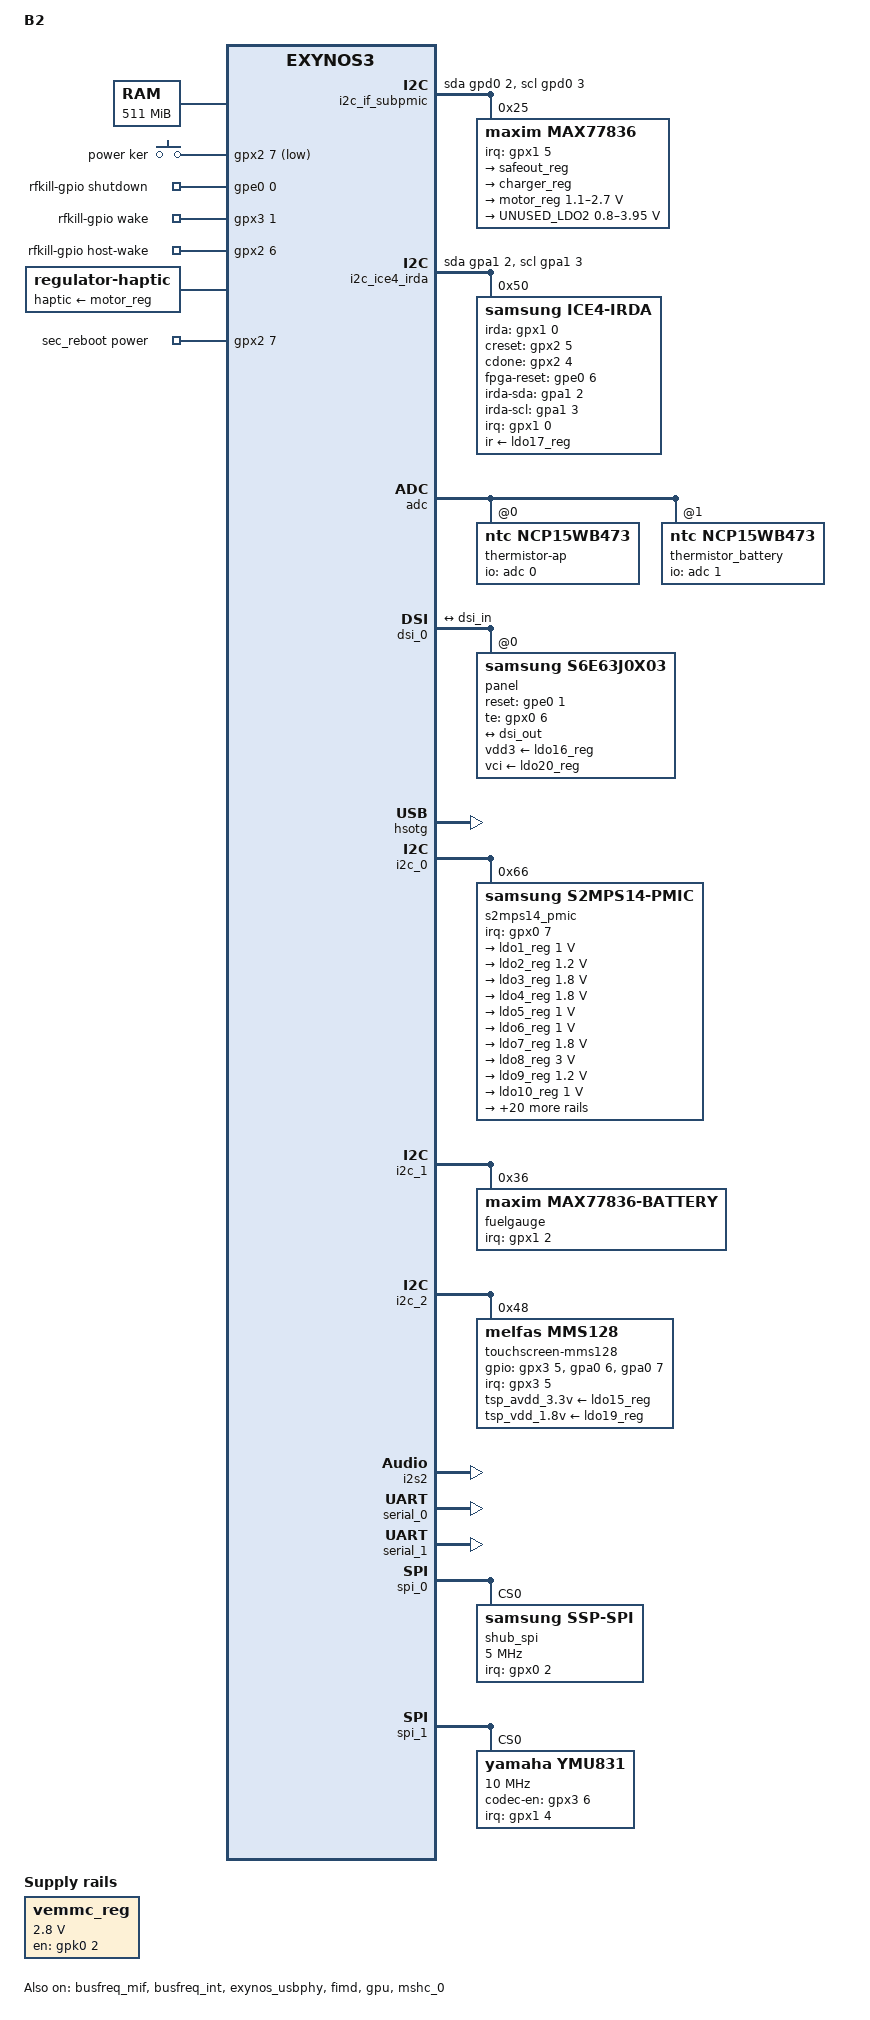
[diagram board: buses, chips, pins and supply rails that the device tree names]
/*
 * Samsung's Exynos3250 based Rinato board device tree source
 *
 * Copyright (c) 2014 Samsung Electronics Co., Ltd.
 *		http://www.samsung.com
 *
 * Device tree source file for Samsung's Rinato board which is based on
 * Samsung Exynos3250 SoC.
 *
 * This program is free software; you can redistribute it and/or modify
 * it under the terms of the GNU General Public License version 2 as
 * published by the Free Software Foundation.
 */

/dts-v1/;
#include "exynos3250.dtsi"

/ {
	model = "B2";
	revision = <6>;
	compatible = "samsung,rinato-rev05", "samsung,exynos3250",
			"samsung,exynos3";

	aliases {
		i2c7 = &i2c_if_subpmic;
		i2c8 = &i2c_ice4_irda;
	};

	memory {
		reg =  <0x40000000 0x08000000
			0x48000000 0x08000000
			0x50000000 0x08000000
			0x58000000 0x07F00000>;
	};

	reserved-memory {
		#address-cells = <1>;
		#size-cells = <1>;
		ranges;

		contig_mem: region@51000000 {
			compatible = "linux,contiguous-memory-region";
			reg = <0x51000000 0x1000000>;
			linux,default-contiguous-region;
		};
	};

	chosen {
		bootargs = "console=ttySAC1,115200N8 root=/dev/mmcblk0p15 rootwait earlyprintk panic=5";
	};

	firmware@0205F000 {
		compatible = "samsung,secure-firmware";
		reg = <0x0205F000 0x1000>;
	};

	charger-manager@0 {
		compatible = "charger-manager";
		status = "okay";

		cm-name = "battery";
		/* Enable polling always to monitor battery capcity */
		cm-poll-mode = <1>;
		cm-poll-interval = <30000>;

		cm-fullbatt-vchkdrop-ms = <30000>;
		cm-fullbatt-vchkdrop-volt = <150000>;
		cm-fullbatt-soc = <100>;

		/* Checking battery present with fuelgauge */
		cm-battery-stat = <0>;

		cm-fuel-gauge = "max17040";

		cm-thermal-zone = "battery";
		cm-battery-hot = <600>;

		cm-charging-max = <21600000>;	/* 60 hours */
		cm-discharging-max = <300000>;	/* 5 minutes */

		cm-num-chargers = <1>;
		cm-chargers = "max14577-charger";

		charger@0 {
			cm-regulator-name = "CHARGER";
			cable@0 {
				cm-cable-name = "USB";
				cm-cable-extcon = "max77836-muic";
				cm-cable-min = <450000>;
				cm-cable-max = <450000>;
			};
			cable@1 {
				cm-cable-name = "TA";
				cm-cable-extcon = "max77836-muic";
				cm-cable-min = <2000000>;
				cm-cable-max = <2000000>;
			};
		};
	};

	gpio-keys {
		compatible = "gpio-keys";

		power_gpio_keys {
			interrupt-parent = <&gpx2>;
			interrupts = <7 0>;
			gpios = <&gpx2 7 1>;
			linux,code = <116>;
			label = "power ker";
			debounce-interval = <10>;
			gpio-key,wakeup;
		};
	};

	i2c_if_subpmic: i2c-gpio-0 {
		compatible = "i2c-gpio";
		gpios = <&gpd0 2 0
			 &gpd0 3 0>;
		#address-cells = <1>;
		#size-cells = <0>;

		max77836@25 {
			compatible = "maxim,max77836";
			reg = <0x25>;
			interrupt-parent = <&gpx1>;
			interrupts = <5 0>;
			wakeup;

			muic: max77836-muic {
				compatible = "maxim,max77836-muic";
			};

			regulators {
				compatible = "maxim,max77836-regulator";
				safeout_reg: SAFEOUT {
					regulator-name = "SAFEOUT";
					regulator-always-on;
				};

				charger_reg: CHARGER {
					regulator-name = "CHARGER";
					regulator-min-microamp = <45000>;
					regulator-max-microamp = <475000>;
					regulator-boot-on;
				};

				motor_reg: LDO1 {
					regulator-name = "MOT_2.7V";
					regulator-min-microvolt = <1100000>;
					regulator-max-microvolt = <2700000>;
				};

				LDO2 {
					regulator-name = "UNUSED_LDO2";
					regulator-min-microvolt = <800000>;
					regulator-max-microvolt = <3950000>;
				};
			};

			charger: max77836-charger {
				compatible = "maxim,max77836-charger";

				maxim,fast-charge-timer = <6>;
				maxim,constant-uvolt = <4350000>;
				maxim,fast-charge-uamp = <225000>;
				maxim,eoc-uamp = <7500>;
				maxim,ovp-uvolt = <6500000>;
			};
		};
	};

	i2c_ice4_irda: i2c-gpio-1 {
		compatible = "i2c-gpio";
		gpios = <&gpa1 2 0
			 &gpa1 3 0>;
			i2c-gpio,sda-open-drain;
			i2c-gpio,scl-open-drain;
			i2c-gpio,delay-us = <2>;
		#address-cells = <1>;
		#size-cells = <0>;

		ice4-irda@50 {
			compatible = "samsung,ice4-irda";
			reg = <0x50>;
			interrupt-parent = <&gpx1>;
			interrupts = <0 0>;
			clocks = <&xusbxti>, <&clkout CLK_MOUT_CLKOUT>,
				<&clkout CLK_CLKOUT>;
			clock-names = "parent", "out-mux", "out";
			ir-supply = <&ldo17_reg>;
			irda-gpio = <&gpx1 0 0>;
			creset-gpio = <&gpx2 5 0>;
			cdone-gpio = <&gpx2 4 0>;
			fpga-reset-gpio = <&gpe0 6 0>;
			irda-sda-gpio = <&gpa1 2 0>;
			irda-scl-gpio = <&gpa1 3 0>;
		};
	};

	jack {
		compatible = "samsung,extcon-port";
		extcon = <&muic>;

		samsung,extcon-online-usb;
		samsung,extcon-online-charger;
	};

	rfkill-gpio {
		compatible = "rfkill-gpio";
		rfkill-name = "rfkill-gpio";
		rfkill-type = <2>;
		shutdown-gpio = <&gpe0 0 0>;
		wake-gpio = <&gpx3 1 0>;
		host-wake-gpio = <&gpx2 6 0>;
		clocks = <&s2mps14_osc 2>;
		clock-names ="bt_clk32k";
	};

	regulator-haptic {
		compatible = "linux,regulator-haptic";
		haptic-supply = <&motor_reg>;
		min-microvolt = <1100000>;
		max-microvolt = <2700000>;
	};

	sound {
		compatible = "rinato,ymu831";
		samsung,pmureg-phandle = <&pmu_system_controller>;
		clocks = <&xusbxti>, <&clkout CLK_MOUT_CLKOUT>,
			<&clkout CLK_CLKOUT>,
			<&s2mps14_osc 2 /* S2MPS11_CLK_BT */>;
		clock-names = "parent", "out-mux", "out", "clk_32k";
		samsung,i2s-controller = <&i2s2>;
		samsung,audio-codec = <&ymu831>;
		samsung,model = "ymu831";
	};

	sec_reboot {
		compatible = "samsung,sec-reboot";
		power-gpio = <&gpx2 7 0>;
		extcon = <&muic>;
	};

	vemmc_reg: voltage-regulator@0 {
	        compatible = "regulator-fixed";
		regulator-name = "V_EMMC_2.8V-fixed";
		regulator-min-microvolt = <2800000>;
		regulator-max-microvolt = <2800000>;
		gpio = <&gpk0 2 0>;
		enable-active-high;
	};

	thermal-zones {
		battery {
			polling-delay-passive = <0>;
			polling-delay = <0>;
			thermal-sensors = <&thermistor_battery>;
		};
	};
};

&adc {
	vdd-supply = <&ldo3_reg>;
	status = "okay";
	assigned-clocks = <&cmu CLK_SCLK_TSADC>;
	assigned-clock-rates = <6000000>;

	thermistor-ap@0 {
		compatible = "ntc,ncp15wb473";
		pullup-uv = <1800000>;
		pullup-ohm = <100000>;
		pulldown-ohm = <100000>;
		io-channels = <&adc 0>;
	};

	thermistor_battery: thermistor-battery@1 {
		compatible = "ntc,ncp15wb473";
		pullup-uv = <1800000>;
		pullup-ohm = <100000>;
		pulldown-ohm = <100000>;
		io-channels = <&adc 1>;
		#thermal-sensor-cells = <0>;
	};
};

&busfreq_mif {
	vdd_mif-supply = <&buck1_reg>;
	status = "okay";
};

&busfreq_int {
	vdd_int-supply = <&buck3_reg>;
	status = "okay";
};

&cpufreq {
	compatible = "samsung,exynos-cpufreq";
	clocks = <&cmu CLK_DIV_CORE2>, <&cmu CLK_MOUT_CORE>,
	         <&cmu CLK_MOUT_MPLL_USER_C>, <&cmu CLK_MOUT_APLL>;
	clock-names = "div_core2", "mout_core", "mout_mpll_user_c",
							"mout_apll";
	freq_table = <1000000 900000 800000 700000 600000
		      500000 400000 300000 200000 100000>;
	vdd_arm-supply = <&buck2_reg>;
	status = "okay";
};

&dsi_0 {
	vddcore-supply = <&ldo6_reg>;
	vddio-supply = <&ldo6_reg>;
	samsung,pll-clock-frequency = <24000000>;
	status = "okay";

	ports {
		#address-cells = <1>;
		#size-cells = <0>;

		port@1 {
			reg = <1>;

			dsi_out: endpoint {
				remote-endpoint = <&dsi_in>;
				samsung,burst-clock-frequency = <250000000>;
				samsung,esc-clock-frequency = <20000000>;
			};
		};
	};

	panel@0 {
		compatible = "samsung,s6e63j0x03";
		reg = <0>;
		vdd3-supply = <&ldo16_reg>;
		vci-supply = <&ldo20_reg>;
		reset-gpios = <&gpe0 1 0>;
		te-gpios = <&gpx0 6 0>;
		power-on-delay= <30>;
		power-off-delay= <120>;
		reset-delay = <5>;
		init-delay = <100>;
		flip-horizontal;
		flip-vertical;
		panel-width-mm = <29>;
		panel-height-mm = <29>;

		display-timings {
			timing-0 {
				clock-frequency = <0>;
				hactive = <320>;
				vactive = <320>;
				hfront-porch = <1>;
				hback-porch = <1>;
				hsync-len = <1>;
				vfront-porch = <150>;
				vback-porch = <1>;
				vsync-len = <2>;
			};
		};

		port {
			dsi_in: endpoint {
				remote-endpoint = <&dsi_out>;
			};
		};
	};
};

&exynos_usbphy {
	status = "okay";
};

&fimd {
	status = "okay";

	i80-if-timings {
		cs-setup = <0>;
		wr-setup = <0>;
		wr-act = <1>;
		wr-hold = <0>;
	};
};

&gpu {
	vdd_g3d-supply = <&buck3_reg>;
	status = "okay";
};

&hsotg {
	status = "okay";
	vusb_d-supply = <&ldo6_reg>;
	vusb_a-supply = <&ldo8_reg>;
};

&i2c_0 {
	#address-cells = <1>;
	#size-cells = <0>;
	samsung,i2c-sda-delay = <100>;
	samsung,i2c-slave-addr = <0x10>;
	samsung,i2c-max-bus-freq = <100000>;
	status = "okay";

	s2mps14_pmic@66 {
		compatible = "samsung,s2mps14-pmic";
		interrupt-parent = <&gpx0>;
		interrupts = <7 0>;
		reg = <0x66>;

		wakeup;

		s2mps14_osc: clocks {
			compatible = "samsung,s2mps14-clk";
			#clock-cells = <1>;
			clock-output-names = "s2mps14_ap", "unused",
				"s2mps14_bt";
		};

		regulators {
			ldo1_reg: LDO1 {
				regulator-name = "VAP_ALIVE_1.0V";
				regulator-min-microvolt = <1000000>;
				regulator-max-microvolt = <1000000>;
				regulator-always-on;

				op_mode = <1>; /* Normal Mode */
			};

			ldo2_reg: LDO2 {
				regulator-name = "VAP_M1_1.2V";
				regulator-min-microvolt = <1200000>;
				regulator-max-microvolt = <1200000>;
				regulator-always-on;

				op_mode = <3>; /* Standby Mode */
			};

			ldo3_reg: LDO3 {
				regulator-name = "VCC_AP_1.8V";
				regulator-min-microvolt = <1800000>;
				regulator-max-microvolt = <1800000>;
				regulator-always-on;

				/*
				 * FIXME: Change to Normal mode from Standby-
				 * mode, because when trying to play sound,
				 * board power is turned off suddenly.
				 * After resolved this issue, this workaround
				 * will be deleted.
				 */
				op_mode = <1>; /* Normal Mode */
			};

			ldo4_reg: LDO4 {
				regulator-name = "VAP_AVDD_PLL1";
				regulator-min-microvolt = <1800000>;
				regulator-max-microvolt = <1800000>;
				regulator-always-on;

				op_mode = <3>; /* Standby Mode */
			};

			ldo5_reg: LDO5 {
				regulator-name = "VAP_PLL_ISO_1.0V";
				regulator-min-microvolt = <1000000>;
				regulator-max-microvolt = <1000000>;
				regulator-always-on;

				op_mode = <3>; /* Standby Mode */
			};

			ldo6_reg: LDO6 {
				regulator-name = "VAP_VMIPI_1.0V";
				regulator-min-microvolt = <1000000>;
				regulator-max-microvolt = <1000000>;

				op_mode = <3>; /* Standby Mode */
			};

			ldo7_reg: LDO7 {
				regulator-name = "VAP_AVDD_1.8V";
				regulator-min-microvolt = <1800000>;
				regulator-max-microvolt = <1800000>;
				regulator-always-on;

				op_mode = <1>; /* Normal Mode */
			};

			ldo8_reg: LDO8 {
				regulator-name = "VAP_USB_3.0V";
				regulator-min-microvolt = <3000000>;
				regulator-max-microvolt = <3000000>;
				regulator-always-on;

				op_mode = <3>; /* Standby Mode */
			};

			ldo9_reg: LDO9 {
				regulator-name = "V_LPDDR_1.2V";
				regulator-min-microvolt = <1200000>;
				regulator-max-microvolt = <1200000>;
				regulator-always-on;

				op_mode = <1>; /* Normal Mode */
			};

			ldo10_reg: LDO10 {
				regulator-name = "UNUSED_LDO10";
				regulator-min-microvolt = <1000000>;
				regulator-max-microvolt = <1000000>;
				regulator-always-off;

				op_mode = <3>; /* Standby Mode */
			};

			ldo11_reg: LDO11 {
				regulator-name = "V_EMMC_1.8V";
				regulator-min-microvolt = <1800000>;
				regulator-max-microvolt = <1800000>;

				op_mode = <1>; /* Normal Mode */
			};

			ldo12_reg: LDO12 {
				regulator-name = "V_EMMC_2.8V";
				regulator-min-microvolt = <2800000>;
				regulator-max-microvolt = <2800000>;

				op_mode = <1>; /* Normal Mode */
			};

			ldo13_reg: LDO13 {
				regulator-name = "CAM_AVDD_2.8V";
				regulator-min-microvolt = <2800000>;
				regulator-max-microvolt = <2800000>;

				op_mode = <3>; /* Standby Mode */
			};

			ldo14_reg: LDO14 {
				regulator-name = "UNUSED_LDO14";
				regulator-min-microvolt = <2700000>;
				regulator-max-microvolt = <2700000>;
				regulator-always-off;

				op_mode = <3>; /* Standby Mode */
			};

			ldo15_reg: LDO15 {
				regulator-name = "TSP_AVDD_3.3V";
				regulator-min-microvolt = <3300000>;
				regulator-max-microvolt = <3300000>;

				op_mode = <3>; /* Standby Mode */
			};

			ldo16_reg: LDO16 {
				regulator-name = "LCD_VDD_3.3V";
				regulator-min-microvolt = <3300000>;
				regulator-max-microvolt = <3300000>;

				op_mode = <3>; /* Standby Mode */
			};

			ldo17_reg: LDO17 {
				regulator-name = "V_IRLED_3.3V";
				regulator-min-microvolt = <3300000>;
				regulator-max-microvolt = <3300000>;

				op_mode = <3>; /* Standby Mode */
			};

			ldo18_reg: LDO18 {
				regulator-name = "CAM_AF_2.8V";
				regulator-min-microvolt = <2800000>;
				regulator-max-microvolt = <2800000>;

				op_mode = <3>; /* Standby Mode */
			};

			ldo19_reg: LDO19 {
				regulator-name = "TSP_VDD_1.8V";
				regulator-min-microvolt = <1800000>;
				regulator-max-microvolt = <1800000>;

				op_mode = <3>; /* Standby Mode */
			};

			ldo20_reg: LDO20 {
				regulator-name = "LCD_VDD_1.8V";
				regulator-min-microvolt = <1800000>;
				regulator-max-microvolt = <1800000>;

				op_mode = <3>; /* Standby Mode */
			};

			ldo21_reg: LDO21 {
				regulator-name = "CAM_IO_1.8V";
				regulator-min-microvolt = <1800000>;
				regulator-max-microvolt = <1800000>;

				op_mode = <3>; /* Standby Mode */
			};

			ldo22_reg: LDO22 {
				regulator-name = "CAM_DVDD_1.2V";
				regulator-min-microvolt = <1200000>;
				regulator-max-microvolt = <1200000>;

				op_mode = <3>; /* Standby Mode */
			};

			ldo23_reg: LDO23 {
				regulator-name = "HRM_VCC_1.8V";
				regulator-min-microvolt = <1800000>;
				regulator-max-microvolt = <1800000>;
				regulator-always-on;

				op_mode = <1>; /* Normal Mode */
			};

			ldo24_reg: LDO24 {
				regulator-name = "HRM_VCC_3.3V";
				regulator-min-microvolt = <3000000>;
				regulator-max-microvolt = <3000000>;

				op_mode = <3>; /* Standby Mode */
			};

			ldo25_reg: LDO25 {
				regulator-name = "UNUSED_LDO25";
				regulator-min-microvolt = <3000000>;
				regulator-max-microvolt = <3000000>;
				regulator-always-off;

				op_mode = <3>; /* Standby Mode */
			};

			buck1_reg: BUCK1 {
				regulator-name = "VAP_MIF_1.0V";
				regulator-min-microvolt = <800000>;
				regulator-max-microvolt = <900000>;
				regulator-always-on;

				op_mode = <3>; /* Standby Mode */
			};

			buck2_reg: BUCK2 {
				regulator-name = "VAP_ARM_1.0V";
				regulator-min-microvolt = <850000>;
				regulator-max-microvolt = <1150000>;
				regulator-always-on;

				op_mode = <3>; /* Standby Mode */
			};

			buck3_reg: BUCK3 {
				regulator-name = "VAP_INT3D_1.0V";
				regulator-min-microvolt = <850000>;
				regulator-max-microvolt = <1000000>;
				regulator-always-on;

				op_mode = <3>; /* Standby Mode */
			};

			buck4_reg: BUCK4 {
				regulator-name = "VCC_SUB_1.95V";
				regulator-min-microvolt = <1950000>;
				regulator-max-microvolt = <1950000>;
				regulator-always-on;

				op_mode = <1>; /* Normal Mode */
			};

			buck5_reg: BUCK5 {
				regulator-name = "VCC_SUB_1.35V";
				regulator-min-microvolt = <1350000>;
				regulator-max-microvolt = <1350000>;
				regulator-always-on;

				op_mode = <1>; /* Normal Mode */
			};
		};
	};
};

&i2c_1 {
	#address-cells = <1>;
	#size-cells = <0>;
	samsung,i2c-sda-delay = <100>;
	samsung,i2c-slave-addr = <0x10>;
	samsung,i2c-max-bus-freq = <400000>;
	status = "okay";

	fuelgauge: max77836-battery@36 {
		compatible = "maxim,max77836-battery";
		reg = <0x36>;
		interrupt-parent = <&gpx1>;
		interrupts = <2 8>;
		using-19-bits;
	};
};

&i2c_2 {
	#address-cells = <1>;
	#size-cells = <0>;
	samsung,i2c-sda-delay = <100>;
	samsung,i2c-slave-addr = <0x10>;
	samsung,i2c-max-bus-freq = <400000>;
	status = "okay";

	touchscreen-mms128@48 {
		compatible = "melfas,mms128";
		reg = <0x48>;
		interrupt-parent = <&gpx3>;
		interrupts = <5 2>;
		max_x = <320>;
		max_y = <320>;
		invert_x = <0>;
		invert_y = <0>;
		gpios = <&gpx3 5 2>,
			<&gpa0 6 0>,
			<&gpa0 7 0>;
		tsp_vendor = "MELFAS";
		tsp_ic = "MMS128S";
		tsp_tx = <7>;
		tsp_rx = <7>;
		tsp_avdd_3.3v-supply = <&ldo15_reg>;
		tsp_vdd_1.8v-supply = <&ldo19_reg>;
	};
};

&i2s2 {
	status = "okay";
};

&serial_0 {
	assigned-clocks = <&cmu CLK_SCLK_UART0>;
	assigned-clock-rates = <100000000>;
	status = "okay";
};

&serial_1 {
	status = "okay";
};

&spi_0 {
	#address-cells = <1>;
	#size-cells = <0>;
	pinctrl-names = "default";
	pinctrl-0 = <&spi0_bus>;
	status = "okay";
	spi-cpha;

	shub_spi: shub {
		compatible = "samsung,ssp-spi";
		spi-max-frequency = <5000000>;
		interrupt-parent = <&gpx0>;
		interrupts = <2 0>;
		ap-mcu-int = <&gpx0 0 0>;
		mcu-ap-int1 = <&gpx0 2 0>;
		mcu-ap-int2 = <&gpx0 4 0>;
		mcu-reset = <&gpx0 5 0>;
		ssp,acc-position = <7>;
		ssp,mag-position = <0>;
		reg = <0>;
		controller-data {
			cs-gpio = <&gpb 1 0>;
			samsung,spi-feedback-dealy = <0>;
		};
	};
};

&spi_1 {
	#address-cells = <1>;
	#size-cells = <0>;
	cs-gpio;
	status = "okay";

	ymu831: audio-codec@0 {
		compatible = "yamaha,ymu831";
		spi-max-frequency = <10000000>;
		interrupt-parent = <&gpx1>;
		interrupts = <4 0>;
		reg = <0x0>;
		codec-en-gpios = <&gpx3 6 0>;
		controller-data {
			cs-gpio = <&gpb 5 0>;
			samsung,spi-feedback-delay = <2>;
		};
	};
};

&sysmmu_fimd0 {
	status = "okay";
};

&mshc_0 {
	#address-cells = <1>;
	#size-cells = <0>;
	num-slots = <1>;
	broken-cd;
	non-removable;
	supports-highspeed;
	desc-num = <1>;
	card-detect-delay = <200>;
	vmmc-supply = <&vemmc_reg>;
	clock-frequency = <400000000>;
	clock-freq-min-max = <400000 100000000>;
	samsung,dw-mshc-ciu-div = <3>;
	samsung,dw-mshc-sdr-timing = <2 3>;
	samsung,dw-mshc-ddr-timing = <1 2>;
	pinctrl-names = "default";
	pinctrl-0 = <&sd0_cmd &sd0_bus1 &sd0_bus4 &sd0_bus8>;
	status = "okay";

	slot@0 {
		reg = <0>;
		bus-width = <8>;
	};
};

&xusbxti {
	clock-frequency = <24000000>;
};

&pinctrl_0 {
	pinctrl-names = "default";
	pinctrl-0 = <&initial0 &sleep0>;

	initial0: initial-state {
		PIN_IN(gpa1-0, DOWN, LV1); /* NC */
		PIN_IN(gpa1-1, DOWN, LV1); /* NC */
		PIN_IN(gpa1-2, DOWN, LV1); /* FPGA_SPI_SI */
		PIN_IN(gpa1-3, DOWN, LV1); /* FPGA_SPI_CLK */
		PIN_IN(gpa1-4, DOWN, LV1); /* NC */
		PIN_IN(gpa1-5, DOWN, LV1); /* NC */

		PIN_IN(gpc0-0, DOWN, LV1); /* NC */
		PIN_IN(gpc0-1, DOWN, LV1); /* NC */
		PIN_IN(gpc0-2, DOWN, LV1); /* NC */
		PIN_IN(gpc0-3, DOWN, LV1); /* NC */
		PIN_IN(gpc0-4, DOWN, LV1); /* NC */

		PIN_IN(gpd0-0, DOWN, LV1); /* NC */
		PIN_IN(gpd0-1, DOWN, LV1); /* NC */
        };

	sleep0: sleep-state {
		PIN_SLP(gpa0-0, INPUT, DOWN);	/* BT_UART_RXD */
		PIN_SLP(gpa0-1, INPUT, DOWN);	/* BT_UART_TXD */
		PIN_SLP(gpa0-2, INPUT, DOWN);	/* BT_UART_CTS */
		PIN_SLP(gpa0-3, INPUT, UP);	/* BT_UART_RTS */
		PIN_SLP(gpa0-4, INPUT, DOWN);	/* AP_RXD */
		PIN_SLP(gpa0-5, INPUT, DOWN);	/* AP_TXD */
		PIN_SLP(gpa0-6, INPUT, DOWN);	/* TSP_SDA */
		PIN_SLP(gpa0-7, INPUT, DOWN);	/* TSP_SCL */

		PIN_SLP(gpa1-0, INPUT, DOWN);	/* NC */
		PIN_SLP(gpa1-1, INPUT, DOWN);	/* FPGA_SPI_SI */
		PIN_SLP(gpa1-2, INPUT, DOWN);	/* FPGA_SPI_CLK */
		PIN_SLP(gpa1-3, INPUT, DOWN);	/* NC */
		PIN_SLP(gpa1-4, INPUT, DOWN);	/* NC */
		PIN_SLP(gpa1-5, INPUT, DOWN);	/* NC */

		PIN_SLP(gpb-0, PREV, NONE);	/* SHUB_SPI_SCK */
		PIN_SLP(gpb-1, PREV, NONE);	/* SHUB_SPI_SSN */
		PIN_SLP(gpb-2, PREV, NONE);	/* SHUB_SPI_MISO */
		PIN_SLP(gpb-3, PREV, NONE);	/* SHUB_SPI_MOSI */
		PIN_SLP(gpb-4, INPUT, DOWN);	/* CODEC_SPI_SCK */
		PIN_SLP(gpb-5, INPUT, DOWN);	/* CODEC_SPI_SSN */
		PIN_SLP(gpb-6, INPUT, DOWN);	/* CODEC_SPI_MISO */
		PIN_SLP(gpb-7, INPUT, DOWN);	/* CODEC_SPI_MOSI */

		PIN_SLP(gpc0-0, INPUT, DOWN);	/* NC */
		PIN_SLP(gpc0-1, INPUT, DOWN);	/* NC */
		PIN_SLP(gpc0-2, INPUT, DOWN);	/* NC */
		PIN_SLP(gpc0-3, INPUT, DOWN);	/* NC */
		PIN_SLP(gpc0-4, INPUT, DOWN);	/* NC */

		PIN_SLP(gpc1-0, INPUT, DOWN);	/* MM_I2S_CLK */
		PIN_SLP(gpc1-1, INPUT, DOWN);	/* NC */
		PIN_SLP(gpc1-2, INPUT, DOWN);	/* MM_I2S_SYNC */
		PIN_SLP(gpc1-3, INPUT, DOWN);	/* MM_I2S_DI */
		PIN_SLP(gpc1-4, INPUT, DOWN);	/* MM_I2S_DO */

		PIN_SLP(gpd0-0, INPUT, DOWN);	/* NC */
		PIN_SLP(gpd0-1, INPUT, DOWN);	/* NC */
		PIN_SLP(gpd0-2, INPUT, NONE);	/* MUIC_SDA */
		PIN_SLP(gpd0-3, INPUT, NONE);	/* MUIC_SCL */

		PIN_SLP(gpd1-0, INPUT, NONE);	/* AP_PMIC_SDA */
		PIN_SLP(gpd1-1, INPUT, NONE);	/* AP_PMIC_SCL */
		PIN_SLP(gpd1-2, INPUT, NONE);	/* FUEL_SCL */
		PIN_SLP(gpd1-3, INPUT, NONE);	/* FUEL_SDA */
	};
};

&pinctrl_1 {
	pinctrl-names = "default";
	pinctrl-0 = <&initial1 &sleep1>;

	initial1: initial-state {
		PIN_IN(gpe0-2, DOWN, LV4); /* NC */
		PIN_IN(gpe0-3, DOWN, LV4); /* NC */
		PIN_IN(gpe0-5, DOWN, LV4); /* NC */
		PIN_IN(gpe0-6, DOWN, LV4); /* FPGA_SPI_EN */
		PIN_IN(gpe0-7, DOWN, LV4); /* NC */
		PIN_IN(gpe1-0, DOWN, LV4); /* NC */
		PIN_IN(gpe1-2, DOWN, LV4); /* NC */
		PIN_IN(gpe1-3, DOWN, LV4); /* NC */
		PIN_IN(gpe1-4, DOWN, LV4); /* NC */
		PIN_IN(gpe1-5, DOWN, LV4); /* NC */
		PIN_IN(gpe1-6, DOWN, LV4); /* NC */

		PIN_IN(gpk0-7, DOWN, LV4); /* NC */
		PIN_IN(gpk1-0, DOWN, LV4); /* WLAN_SDIO_CLK */
		PIN_IN(gpk1-1, DOWN, LV4); /* WLAN_SDIO_CMD */
		PIN_IN(gpk1-2, DOWN, LV4); /* NC */
		PIN_IN(gpk1-3, DOWN, LV4); /* WLAN_SDIO_D1 */
		PIN_IN(gpk1-4, DOWN, LV4); /* WLAN_SDIO_D2 */
		PIN_IN(gpk1-5, DOWN, LV4); /* WLAN_SDIO_D3 */
		PIN_IN(gpk1-6, DOWN, LV4); /* WLAN_SDIO_D4 */
		PIN_IN(gpk2-0, DOWN, LV4); /* NC */
		PIN_IN(gpk2-1, DOWN, LV4); /* NC */
		PIN_IN(gpk2-2, DOWN, LV4); /* NC */
		PIN_IN(gpk2-3, DOWN, LV4); /* NC */
		PIN_IN(gpk2-4, DOWN, LV4); /* NC */
		PIN_IN(gpk2-5, DOWN, LV4); /* NC */
		PIN_IN(gpk2-6, DOWN, LV4); /* NC */

		PIN_IN(gpm0-0, DOWN, LV4); /* NC */
		PIN_IN(gpm0-1, DOWN, LV4); /* NC */
		PIN_IN(gpm0-2, DOWN, LV4); /* NC */
		PIN_IN(gpm0-3, DOWN, LV4); /* NC */
		PIN_IN(gpm0-4, DOWN, LV4); /* NC */
		PIN_IN(gpm0-5, DOWN, LV4); /* NC */
		PIN_IN(gpm0-6, DOWN, LV4); /* NC */
		PIN_IN(gpm0-7, DOWN, LV4); /* NC */
		PIN_IN(gpm1-0, DOWN, LV4); /* NC */
		PIN_IN(gpm1-1, DOWN, LV4); /* NC */
		PIN_IN(gpm1-2, DOWN, LV4); /* NC */
		PIN_IN(gpm1-3, DOWN, LV4); /* NC */
		PIN_IN(gpm1-4, DOWN, LV4); /* NC */
		PIN_IN(gpm1-5, DOWN, LV4); /* NC */
		PIN_IN(gpm1-6, DOWN, LV4); /* NC */
		PIN_IN(gpm2-0, DOWN, LV4); /* NC */
		PIN_IN(gpm2-1, DOWN, LV4); /* NC */
		PIN_IN(gpm2-4, DOWN, LV4); /* NC */
		PIN_IN(gpm3-0, DOWN, LV4); /* NC */
		PIN_IN(gpm3-1, DOWN, LV4); /* NC */
		PIN_IN(gpm3-2, DOWN, LV4); /* NC */
		PIN_IN(gpm3-3, DOWN, LV4); /* NC */
		PIN_IN(gpm3-4, DOWN, LV4); /* NC */
		PIN_IN(gpm3-5, DOWN, LV4); /* NC */
		PIN_IN(gpm3-6, DOWN, LV4); /* NC */
		PIN_IN(gpm3-7, DOWN, LV4); /* NC */
		PIN_IN(gpm4-2, DOWN, LV4); /* AF_SCL */
		PIN_IN(gpm4-3, DOWN, LV4); /* AF_SDA */
		PIN_IN(gpm4-4, DOWN, LV4); /* NC */
		PIN_IN(gpm4-5, DOWN, LV4); /* NC */
		PIN_IN(gpm4-6, DOWN, LV4); /* NC */
		PIN_IN(gpm4-7, DOWN, LV4); /* NC */
	};

	sleep1: sleep-state {
		PIN_SLP(gpe0-0, PREV, NONE);	/* BT_EN */
		PIN_SLP(gpe0-1, PREV, NONE);	/* DISP_RST */
		PIN_SLP(gpe0-2, INPUT, DOWN);	/* NC */
		PIN_SLP(gpe0-3, INPUT, DOWN);	/* NC */
		PIN_SLP(gpe0-4, INPUT, DOWN);	/* WLAN_EN */
		PIN_SLP(gpe0-5, INPUT, DOWN);	/* NC */
		PIN_SLP(gpe0-6, INPUT, DOWN);	/* FPGA_SPI_EN */
		PIN_SLP(gpe0-7, INPUT, DOWN);	/* NC */

		PIN_SLP(gpe1-0, INPUT, DOWN);	/* NC */
		PIN_SLP(gpe1-1, PREV, NONE);	/* WRSTBI */
		PIN_SLP(gpe1-2, INPUT, DOWN);	/* NC */
		PIN_SLP(gpe1-3, INPUT, DOWN);	/* NC */
		PIN_SLP(gpe1-4, INPUT, DOWN);	/* NC */
		PIN_SLP(gpe1-5, INPUT, DOWN);	/* NC */
		PIN_SLP(gpe1-6, INPUT, DOWN);	/* NC */
		PIN_SLP(gpe1-7, INPUT, NONE);	/* HW_REV0 */

		PIN_SLP(gpe2-0, INPUT, NONE);	/* HW_REV1 */
		PIN_SLP(gpe2-1, INPUT, NONE);	/* HW_REV2 */
		PIN_SLP(gpe2-2, INPUT, NONE);	/* HW_REV3 */

		PIN_SLP(gpk0-0, INPUT, DOWN);	/* NAND_CLK */
		PIN_SLP(gpk0-1, INPUT, DOWN);	/* NAND_CMD */
		PIN_SLP(gpk0-2, OUT0, NONE);	/* eMMC_EN */
		PIN_SLP(gpk0-3, INPUT, DOWN);	/* NAND_D0 */
		PIN_SLP(gpk0-4, INPUT, DOWN);	/* NAND_D1 */
		PIN_SLP(gpk0-5, INPUT, DOWN);	/* NAND_D2 */
		PIN_SLP(gpk0-6, INPUT, DOWN);	/* NAND_D3 */
		PIN_SLP(gpk0-7, INPUT, DOWN);	/* 10K PD */

		PIN_SLP(gpk1-0, INPUT, DOWN);	/* WLAN_SDIO_CLK */
		PIN_SLP(gpk1-1, INPUT, DOWN);	/* WLAN_SDIO_CMD */
		PIN_SLP(gpk1-2, INPUT, DOWN);	/* NC */
		PIN_SLP(gpk1-3, INPUT, DOWN);	/* WLAN_SDIO_D1 */
		PIN_SLP(gpk1-4, INPUT, DOWN);	/* WLAN_SDIO_D2 */
		PIN_SLP(gpk1-5, INPUT, DOWN);	/* WLAN_SDIO_D3 */
		PIN_SLP(gpk1-6, INPUT, DOWN);	/* WLAN_SDIO_D4 */

		PIN_SLP(gpk2-0, INPUT, DOWN);	/* NC */
		PIN_SLP(gpk2-1, INPUT, DOWN);	/* NC */
		PIN_SLP(gpk2-2, INPUT, DOWN);	/* NC */
		PIN_SLP(gpk2-3, INPUT, DOWN);	/* NC */
		PIN_SLP(gpk2-4, INPUT, DOWN);	/* NC */
		PIN_SLP(gpk2-5, INPUT, DOWN);	/* NC */
		PIN_SLP(gpk2-6, INPUT, DOWN);	/* NC */

		PIN_SLP(gpl0-0, INPUT, DOWN);	/* NAND_D4 */
		PIN_SLP(gpl0-1, INPUT, DOWN);	/* NAND_D5 */
		PIN_SLP(gpl0-2, INPUT, DOWN);	/* NAND_D6 */
		PIN_SLP(gpl0-3, INPUT, DOWN);	/* NAND_D7 */

		PIN_SLP(gpm0-0, INPUT, DOWN);	/* NC */
		PIN_SLP(gpm0-1, INPUT, DOWN);	/* NC */
		PIN_SLP(gpm0-2, INPUT, DOWN);	/* NC */
		PIN_SLP(gpm0-3, INPUT, DOWN);	/* NC */
		PIN_SLP(gpm0-4, INPUT, DOWN);	/* NC */
		PIN_SLP(gpm0-5, INPUT, DOWN);	/* NC */
		PIN_SLP(gpm0-6, INPUT, DOWN);	/* NC */
		PIN_SLP(gpm0-7, INPUT, DOWN);	/* NC */

		PIN_SLP(gpm1-0, INPUT, DOWN);	/* NC */
		PIN_SLP(gpm1-1, INPUT, DOWN);	/* NC */
		PIN_SLP(gpm1-2, INPUT, DOWN);	/* NC */
		PIN_SLP(gpm1-3, INPUT, DOWN);	/* NC */
		PIN_SLP(gpm1-4, INPUT, DOWN);	/* NC */
		PIN_SLP(gpm1-5, INPUT, DOWN);	/* NC */
		PIN_SLP(gpm1-6, INPUT, DOWN);	/* NC */

		PIN_SLP(gpm2-0, INPUT, DOWN);	/* NC */
		PIN_SLP(gpm2-1, INPUT, DOWN);	/* NC */
		PIN_SLP(gpm2-2, INPUT, DOWN);	/* CAM_MCLK */
		PIN_SLP(gpm2-3, INPUT, DOWN);	/* CAM_nRST */
		PIN_SLP(gpm2-4, INPUT, DOWN);	/* NC */

		PIN_SLP(gpm3-0, INPUT, DOWN);	/* NC */
		PIN_SLP(gpm3-1, INPUT, DOWN);	/* NC */
		PIN_SLP(gpm3-2, INPUT, DOWN);	/* NC */
		PIN_SLP(gpm3-3, INPUT, DOWN);	/* NC */
		PIN_SLP(gpm3-4, INPUT, DOWN);	/* NC */
		PIN_SLP(gpm3-5, INPUT, DOWN);	/* NC */
		PIN_SLP(gpm3-6, INPUT, DOWN);	/* NC */
		PIN_SLP(gpm3-7, INPUT, DOWN);	/* NC */

		PIN_SLP(gpm4-0, INPUT, DOWN);	/* CAM_SCL */
		PIN_SLP(gpm4-1, INPUT, DOWN);	/* CAM_SDA */
		PIN_SLP(gpm4-2, INPUT, DOWN);	/* AF_SCL */
		PIN_SLP(gpm4-3, INPUT, DOWN);	/* AF_SDA */
		PIN_SLP(gpm4-4, INPUT, DOWN);	/* NC */
		PIN_SLP(gpm4-5, INPUT, DOWN);	/* NC */
		PIN_SLP(gpm4-6, INPUT, DOWN);	/* NC */
		PIN_SLP(gpm4-7, INPUT, DOWN);	/* NC */
	};
};
